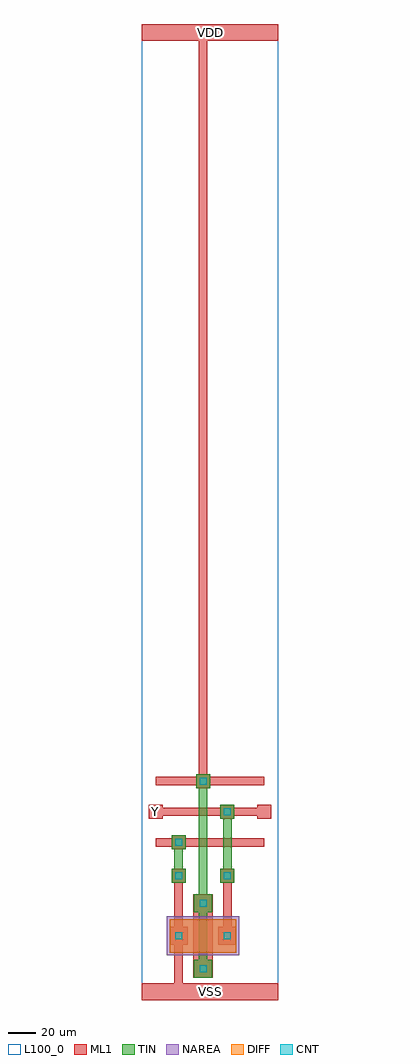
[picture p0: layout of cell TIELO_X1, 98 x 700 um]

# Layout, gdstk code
import gdstk
lib = gdstk.Library(unit=1e-6, precision=1e-09)
def R(c, l, rs):  # rectangles x0, y0, x1, y1
    for r in rs: c.add(gdstk.rectangle(r[:2], r[2:], *l))
def A(c, l, x, y, w, h, nx, ny, dx, dy):  # array of equal rectangles
    R(c, l, [(x+i*dx, y+j*dy, x+i*dx+w, y+j*dy+h) for i in range(nx) for j in range(ny)])
DIFF = (3, 0)
TIN = (5, 0)
CNT = (7, 0)
ML1 = (8, 0)
NAREA = (19, 0)
L100_0 = (100, 0)

tielo_x1 = lib.new_cell('TIELO_X1')
R(tielo_x1, DIFF, [(20,34,68,58)])
R(tielo_x1, TIN, [(37.5,16,50.5,29), (41,28,47,65.5), (37.5,63,50.5,76), (41,69.5,47,157), (21.5,84,31.5,94), (56.5,84,66.5,94), (23.5,89,29.5,113), (58.5,89,64.5,135), (21.5,108,31.5,118), (56.5,130,66.5,140), (39,152,49,162)])
R(tielo_x1, CNT, [(41.5,20,46.5,25), (24,43.5,29,48.5), (59,43.5,64,48.5), (41.5,67,46.5,72), (24,86.5,29,91.5), (59,86.5,64,91.5), (24,110.5,29,115.5), (59,132.5,64,137.5), (41.5,154.5,46.5,159.5)])
A(tielo_x1, ML1, 10, 110, 78, 6, 1, 3, 0, 22)
R(tielo_x1, ML1, [(0,0,98,12), (23.5,3,29.5,92), (37,16,51,76), (37.5,16,50.5,29), (20,39.5,33,52.5), (55,39.5,68,52.5), (23.5,46,29.5,89), (58.5,46,64.5,89), (37.5,63,50.5,76), (21.5,84,31.5,94), (56.5,84,66.5,94), (21.5,108,31.5,118), (5,130,15,140), (56.5,130,66.5,140), (83,130,93,140), (39,152,49,162), (41,154,47,697), (0,688,98,700)])
R(tielo_x1, NAREA, [(18,32,70,60)])
R(tielo_x1, L100_0, [(0,0,98,700)])
tielo_x1.add(gdstk.Label('Y', (10,135), layer=13, texttype=0))
tielo_x1.add(gdstk.Label('VDD', (49,694), layer=13, texttype=0))
tielo_x1.add(gdstk.Label('VSS', (49,6), layer=13, texttype=0))

lib.write_gds('TIELO_X1.gds')
